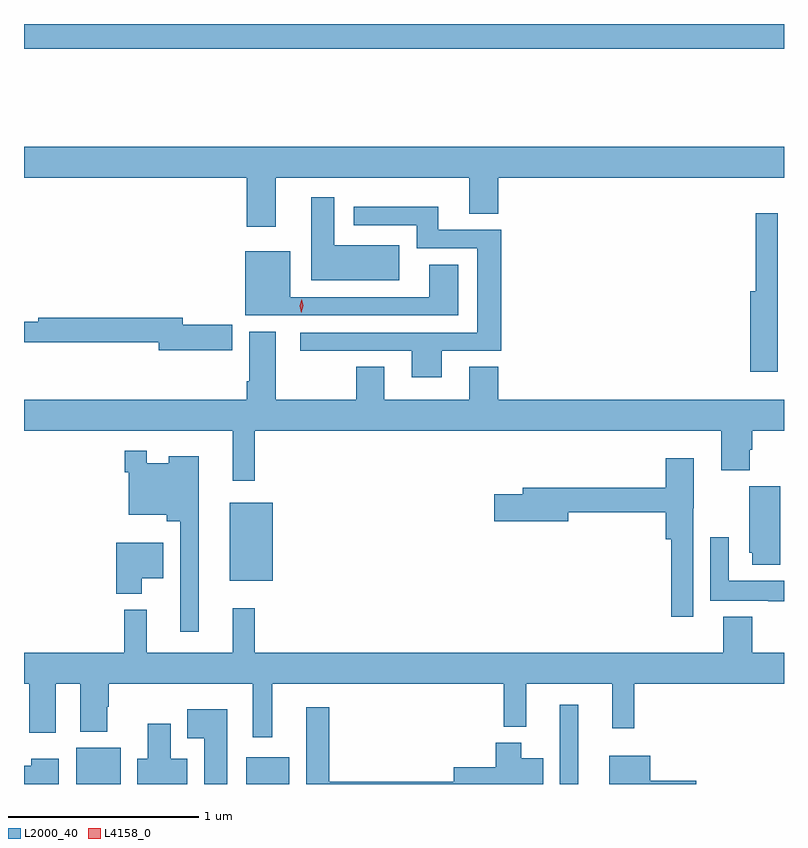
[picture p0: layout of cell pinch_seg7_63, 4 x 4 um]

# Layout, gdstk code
import gdstk
lib = gdstk.Library(unit=1e-6, precision=1e-09)
def R(c, l, rs):  # rectangles x0, y0, x1, y1
    for r in rs: c.add(gdstk.rectangle(r[:2], r[2:], *l))
def P(c, l, *ps):  # polygons
    for p in ps: c.add(gdstk.Polygon(p, *l))
L2000_40 = (2000, 40)
L4158_0 = (4158, 0)

pinch_seg7_63 = lib.new_cell('pinch_seg7_63')
R(pinch_seg7_63, L2000_40, [(971.216,1069.353,971.449,1069.543), (972.11,1069.353,972.337,1069.495), (973.761,1069.353,973.858,1069.771), (972.023,1070.423,972.25,1070.833), (970.94,1073.224,974.94,1073.353)])
P(pinch_seg7_63, L2000_40, [(972.265,1072.544),(973.283,1072.544),(973.283,1072.354),(973.436,1072.354),(973.436,1072.544),(974.94,1072.544),(974.94,1072.708),(970.94,1072.708),(970.94,1072.544),(972.113,1072.544),(972.113,1072.287),(972.265,1072.287)],
  [(972.916,1072.189),(972.574,1072.189),(972.574,1072.441),(972.452,1072.441),(972.452,1072.004),(972.916,1072.004)],
  [(973.138,1071.633),(973.451,1071.633),(973.451,1072.269),(973.12,1072.269),(973.12,1072.39),(972.675,1072.39),(972.675,1072.293),(973.007,1072.293),(973.007,1072.173),(973.325,1072.173),(973.325,1071.729),(972.393,1071.729),(972.393,1071.633),(972.98,1071.633),(972.98,1071.494),(973.138,1071.494)],
  [(974.908,1071.842),(974.907,1071.842),(974.907,1072.357),(974.791,1072.357),(974.791,1071.946),(974.762,1071.946),(974.762,1071.522),(974.908,1071.522)],
  [(973.225,1072.087),(973.073,1072.087),(973.073,1071.915),(972.34,1071.915),(972.34,1072.156),(972.104,1072.156),(972.104,1071.819),(973.225,1071.819)],
  [(972.037,1071.77),(971.776,1071.77),(971.776,1071.806),(971.014,1071.806),(971.014,1071.786),(970.94,1071.786),(970.94,1071.678),(971.648,1071.678),(971.648,1071.635),(972.037,1071.635)],
  [(972.155,1071.212),(974.609,1071.212),(974.609,1071.004),(974.761,1071.004),(974.761,1071.113),(974.774,1071.113),(974.774,1071.212),(974.94,1071.212),(974.94,1071.376),(973.436,1071.376),(973.436,1071.548),(973.283,1071.548),(973.283,1071.376),(972.835,1071.376),(972.835,1071.548),(972.688,1071.548),(972.688,1071.376),(972.265,1071.376),(972.265,1071.733),(972.125,1071.733),(972.125,1071.472),(972.113,1071.472),(972.113,1071.376),(970.94,1071.376),(970.94,1071.212),(972.038,1071.212),(972.038,1070.949),(972.155,1070.949)],
  [(971.86,1071.079),(971.702,1071.079),(971.702,1071.04),(971.586,1071.04),(971.586,1071.106),(971.47,1071.106),(971.47,1070.993),(971.49,1070.993),(971.49,1070.771),(971.69,1070.771),(971.69,1070.735),(971.763,1070.735),(971.763,1070.154),(971.86,1070.154)],
  [(974.463,1070.805),(974.464,1070.805),(974.464,1071.067),(974.318,1071.067),(974.318,1070.911),(973.565,1070.911),(973.565,1070.877),(973.416,1070.877),(973.416,1070.735),(973.804,1070.735),(973.804,1070.782),(974.318,1070.782),(974.318,1070.642),(974.347,1070.642),(974.347,1070.232),(974.463,1070.232)],
  [(974.92,1070.919),(974.756,1070.919),(974.756,1070.571),(974.774,1070.571),(974.774,1070.508),(974.92,1070.508)],
  [(974.94,1070.422),(974.649,1070.422),(974.649,1070.653),(974.553,1070.653),(974.553,1070.318),(974.857,1070.318),(974.857,1070.316),(974.94,1070.316)],
  [(971.56,1070.435),(971.674,1070.435),(971.674,1070.623),(971.426,1070.623),(971.426,1070.354),(971.56,1070.354)],
  [(972.038,1070.278),(972.038,1070.044),(971.585,1070.044),(971.585,1070.269),(971.467,1070.269),(971.467,1070.044),(970.94,1070.044),(970.94,1069.88),(970.967,1069.88),(970.967,1069.623),(971.107,1069.623),(971.107,1069.88),(971.237,1069.88),(971.237,1069.628),(971.377,1069.628),(971.377,1069.76),(971.385,1069.76),(971.385,1069.88),(972.143,1069.88),(972.143,1069.599),(972.247,1069.599),(972.247,1069.88),(973.465,1069.88),(973.465,1069.655),(973.583,1069.655),(973.583,1069.88),(974.036,1069.88),(974.036,1069.647),(974.153,1069.647),(974.153,1069.88),(974.94,1069.88),(974.94,1070.044),(974.774,1070.044),(974.774,1070.233),(974.621,1070.233),(974.621,1070.044),(972.155,1070.044),(972.155,1070.278)],
  [(973.672,1069.489),(973.558,1069.489),(973.558,1069.57),(973.424,1069.57),(973.424,1069.441),(973.202,1069.441),(973.202,1069.364),(972.547,1069.364),(972.547,1069.756),(972.425,1069.756),(972.425,1069.353),(973.672,1069.353)],
  [(972.01,1069.747),(971.798,1069.747),(971.798,1069.595),(971.888,1069.595),(971.888,1069.353),(972.01,1069.353)],
  [(971.8,1069.486),(971.713,1069.486),(971.713,1069.669),(971.591,1069.669),(971.591,1069.486),(971.537,1069.486),(971.537,1069.353),(971.8,1069.353)],
  [(974.479,1069.37),(974.236,1069.37),(974.236,1069.501),(974.021,1069.501),(974.021,1069.353),(974.479,1069.353)],
  [(971.122,1069.486),(970.979,1069.486),(970.979,1069.45),(970.94,1069.45),(970.94,1069.353),(971.122,1069.353)])
P(pinch_seg7_63, L4158_0, [(972.399,1071.833),(972.399,1071.833),(972.39,1071.87),(972.402,1071.905),(972.402,1071.905),(972.402,1071.905),(972.41,1071.869),(972.399,1071.833)])

lib.write_gds('pinch_seg7_63.gds')
